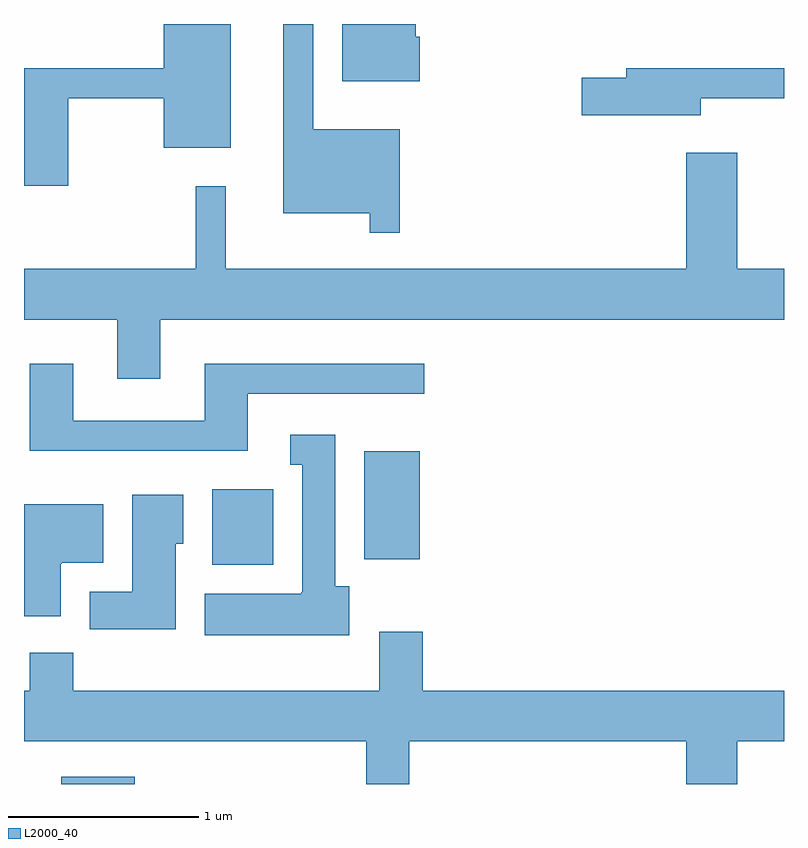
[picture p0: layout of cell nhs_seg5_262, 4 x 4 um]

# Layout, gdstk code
import gdstk
lib = gdstk.Library(unit=1e-6, precision=1e-09)
def R(c, l, rs):  # rectangles x0, y0, x1, y1
    for r in rs: c.add(gdstk.rectangle(r[:2], r[2:], *l))
def P(c, l, *ps):  # polygons
    for p in ps: c.add(gdstk.Polygon(p, *l))
L2000_40 = (2000, 40)

nhs_seg5_262 = lib.new_cell('nhs_seg5_262')
R(nhs_seg5_262, L2000_40, [(191.808,1512.072,192.194,1512.109), (192.601,1513.226,192.924,1513.624), (193.401,1513.256,193.694,1513.824)])
P(nhs_seg5_262, L2000_40, [(193.694,1516.004),(193.674,1516.004),(193.674,1516.072),(193.286,1516.072),(193.286,1515.771),(193.694,1515.771)],
  [(193.589,1515.519),(193.134,1515.519),(193.134,1516.072),(192.976,1516.072),(192.976,1515.076),(193.431,1515.076),(193.431,1514.973),(193.589,1514.973)],
  [(191.844,1515.681),(192.346,1515.681),(192.346,1515.421),(192.699,1515.421),(192.699,1516.072),(192.346,1516.072),(192.346,1515.839),(191.611,1515.839),(191.611,1515.221),(191.844,1515.221)],
  [(195.174,1515.681),(195.611,1515.681),(195.611,1515.839),(194.781,1515.839),(194.781,1515.789),(194.546,1515.789),(194.546,1515.591),(195.174,1515.591)],
  [(192.329,1514.516),(195.611,1514.516),(195.611,1514.784),(195.364,1514.784),(195.364,1515.394),(195.096,1515.394),(195.096,1514.784),(192.674,1514.784),(192.674,1515.218),(192.516,1515.218),(192.516,1514.784),(191.611,1514.784),(191.611,1514.516),(192.101,1514.516),(192.101,1514.206),(192.329,1514.206)],
  [(192.789,1514.126),(193.718,1514.126),(193.718,1514.284),(192.561,1514.284),(192.561,1513.984),(191.869,1513.984),(191.869,1514.284),(191.641,1514.284),(191.641,1513.826),(192.789,1513.826)],
  [(193.324,1513.114),(193.249,1513.114),(193.249,1513.909),(193.013,1513.909),(193.013,1513.751),(193.076,1513.751),(193.076,1513.08),(193.07,1513.08),(193.07,1513.074),(192.561,1513.074),(192.561,1512.856),(193.324,1512.856)],
  [(192.409,1513.336),(192.449,1513.336),(192.449,1513.594),(192.181,1513.594),(192.181,1513.084),(191.956,1513.084),(191.956,1512.886),(192.409,1512.886)],
  [(191.804,1513.23),(191.81,1513.23),(191.81,1513.236),(192.029,1513.236),(192.029,1513.544),(191.611,1513.544),(191.611,1512.956),(191.804,1512.956)],
  [(193.639,1512.296),(195.096,1512.296),(195.096,1512.072),(195.364,1512.072),(195.364,1512.296),(195.611,1512.296),(195.611,1512.564),(193.709,1512.564),(193.709,1512.874),(193.481,1512.874),(193.481,1512.564),(191.869,1512.564),(191.869,1512.764),(191.641,1512.764),(191.641,1512.564),(191.611,1512.564),(191.611,1512.296),(193.411,1512.296),(193.411,1512.072),(193.639,1512.072)])

lib.write_gds('nhs_seg5_262.gds')
